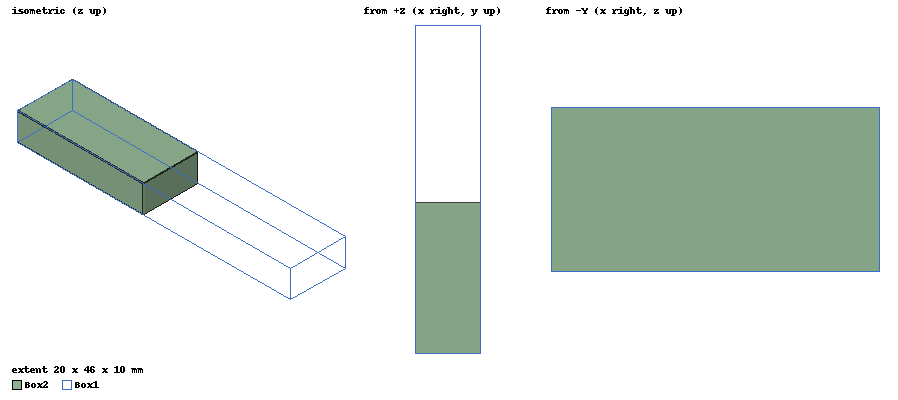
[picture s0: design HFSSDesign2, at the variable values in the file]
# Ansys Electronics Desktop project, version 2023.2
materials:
  vacuum: permittivity=1
  Material1: permittivity=5
  Lab1Material: permittivity=9
  Megtron2_R1577: permittivity=4.1 dielectric_loss_tangent=0.01

design HFSSDesign1 (HFSS, HFSS Terminal Network, model units mm)
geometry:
  Box1 [vacuum] = box(corner=(0mm, 0mm, 0mm), size=(20mm, 100mm, 10mm))
  Rectangle1 [non-model] = rectangle(corner=(10mm, 0mm, 0mm), y_size=100mm, z_size=10mm)
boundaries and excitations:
  PerfH1: Perfect H Faces=Box1.face(+x, -x)
  PerfE1: Perfect E Faces=Box1.face(-z, +z)
  1: Wave Port Faces=Box1.face(-y) WavePortType=Modal NumModes=1 Modes{Mode1{CharImp=Zpi}}
  2: Wave Port Faces=Box1.face(+y) WavePortType=Modal NumModes=1 Modes{Mode1{CharImp=Zpi}}
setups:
  Setup1: HfssDriven Frequency=11GHz MaxDeltaS=0.02 MaximumPasses=3 MinimumPasses=1 MinimumConvergedPasses=1 PercentRefinement=30 BasisOrder=1 PortAccuracy=2 DrivenSolverType="Direct Solver"
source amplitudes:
  1:1: 1V 0deg
  2:1: 0V 0deg

design HFSSDesign2 (HFSS, HFSS Terminal Network, model units mm)
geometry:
  Box1 [vacuum] = box(corner=(0mm, 0mm, 0mm), size=(20mm, 100mm, 10mm))
  Box2 [Megtron2_R1577] = box(corner=(0mm, 0mm, 0mm), size=(20mm, 46mm, 10mm))
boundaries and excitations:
  PerfH1: Perfect H Faces=Box1.face(+x, -x)
  PerfE1: Perfect E Faces=Box1.face(-z, +z)
  2: Wave Port Faces=Box1.face(+y) WavePortType=Modal NumModes=1 Modes{Mode1{CharImp=Zpi}}
  3: Wave Port Faces=Box2.face(-y) WavePortType=Modal NumModes=1 Modes{Mode1{CharImp=Zpi}}
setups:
  Setup1: HfssDriven Frequency=4GHz MaxDeltaS=4e-05 MaximumPasses=5 MinimumPasses=1 MinimumConvergedPasses=1 PercentRefinement=30 BasisOrder=1 PortAccuracy=2 DrivenSolverType="Direct Solver"
    sweep Sweep: 1GHz to 5GHz, 4000 points; Type=Fast SaveFields
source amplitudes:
  2:1: 1V 0deg
  3:1: 0V 0deg
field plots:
  Mesh1: MeshPlots in Box2 on Setup1 : LastAdaptive at Freq=4GHz Phase=0deg
  Mesh2: MeshPlots in Box1 on Setup1 : LastAdaptive at Freq=4GHz Phase=0deg
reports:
  Terminal S Parameter Plot 4: mag(St(2,2)) vs Freq on Setup1 : Sweep
  Terminal S Parameter Plot 5: mag(St(3,2)) vs Freq on Setup1 : Sweep
